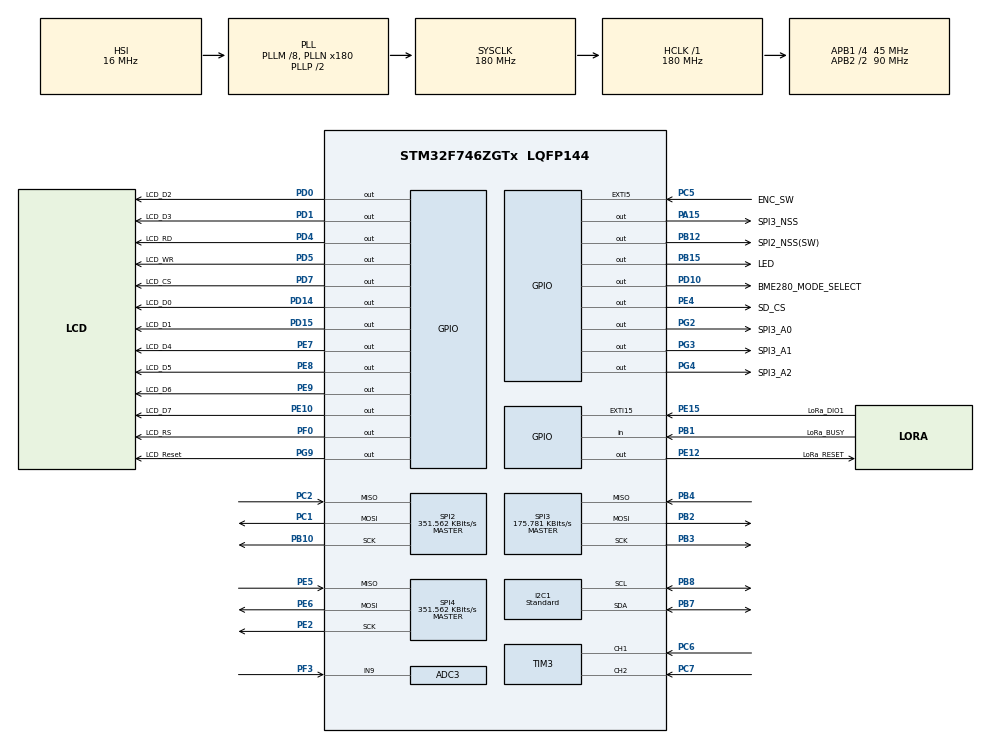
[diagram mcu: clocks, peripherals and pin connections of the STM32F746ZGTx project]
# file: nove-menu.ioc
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ADC3.Channel-0\#ChannelRegularConversion=ADC_CHANNEL_9
ADC3.ClockPrescaler=ADC_CLOCK_SYNC_PCLK_DIV4
ADC3.NbrOfConversionFlag=1
ADC3.Rank-0\#ChannelRegularConversion=1
ADC3.SamplingTime-0\#ChannelRegularConversion=ADC_SAMPLETIME_3CYCLES
CORTEX_M7.default_mode_Activation=1
I2C1.I2C_Speed_Mode=I2C_Standard
I2C1.Timing=0xC0000E12
Mcu.Family=STM32F7
Mcu.Name=STM32F746ZGTx
Mcu.Package=LQFP144
NVIC.EXTI15_10_IRQn=true\:0\:0\:false\:false\:true\:true\:true\:true
NVIC.EXTI9_5_IRQn=true\:0\:0\:false\:false\:true\:true\:true\:true
NVIC.PriorityGroup=NVIC_PRIORITYGROUP_4
NVIC.TIM1_TRG_COM_TIM11_IRQn=true\:0\:0\:false\:false\:true\:true\:true\:true
NVIC.TIM2_IRQn=true\:0\:0\:false\:false\:true\:true\:true\:true
PA15.GPIO_Label=SPI3_NSS
PA15.Signal=GPIO_Output
PB1.GPIO_Label=LoRa_BUSY
PB1.Signal=GPIO_Input
PB10.Mode=Full_Duplex_Master
PB10.Signal=SPI2_SCK
PB12.GPIO_Label=SPI2_NSS(SW)
PB12.Signal=GPIO_Output
PB15.GPIO_Label=LED
PB15.Signal=GPIO_Output
PB2.Mode=Full_Duplex_Master
PB2.Signal=SPI3_MOSI
PB3.Mode=Full_Duplex_Master
PB3.Signal=SPI3_SCK
PB4.Mode=Full_Duplex_Master
PB4.Signal=SPI3_MISO
PB7.Mode=I2C
PB7.Signal=I2C1_SDA
PB8.Mode=I2C
PB8.Signal=I2C1_SCL
PC1.Mode=Full_Duplex_Master
PC1.Signal=SPI2_MOSI
PC2.Mode=Full_Duplex_Master
PC2.Signal=SPI2_MISO
PC5.GPIO_Label=ENC_SW
PC5.GPIO_ModeDefaultEXTI=GPIO_MODE_IT_FALLING
PC5.GPIO_PuPd=GPIO_PULLUP
PC5.Signal=GPXTI5
PC6.Signal=S_TIM3_CH1
PC7.Signal=S_TIM3_CH2
PD0.GPIO_Label=LCD_D2
PD0.GPIO_ModeDefaultOutputPP=GPIO_MODE_OUTPUT_PP
PD0.GPIO_PuPd=GPIO_NOPULL
PD0.GPIO_Speed=GPIO_SPEED_FREQ_VERY_HIGH
PD0.PinState=GPIO_PIN_SET
PD0.Signal=GPIO_Output
PD1.GPIO_Label=LCD_D3
PD1.GPIO_ModeDefaultOutputPP=GPIO_MODE_OUTPUT_PP
PD1.GPIO_PuPd=GPIO_NOPULL
PD1.GPIO_Speed=GPIO_SPEED_FREQ_VERY_HIGH
PD1.PinState=GPIO_PIN_SET
PD1.Signal=GPIO_Output
PD10.GPIO_Label=BME280_MODE_SELECT
PD10.Signal=GPIO_Output
PD14.GPIO_Label=LCD_D0
PD14.GPIO_ModeDefaultOutputPP=GPIO_MODE_OUTPUT_PP
PD14.GPIO_PuPd=GPIO_NOPULL
PD14.GPIO_Speed=GPIO_SPEED_FREQ_VERY_HIGH
PD14.PinState=GPIO_PIN_SET
PD14.Signal=GPIO_Output
PD15.GPIO_Label=LCD_D1
PD15.GPIO_ModeDefaultOutputPP=GPIO_MODE_OUTPUT_PP
PD15.GPIO_PuPd=GPIO_NOPULL
PD15.GPIO_Speed=GPIO_SPEED_FREQ_VERY_HIGH
PD15.PinState=GPIO_PIN_SET
PD15.Signal=GPIO_Output
PD4.GPIO_Label=LCD_RD
PD4.GPIO_ModeDefaultOutputPP=GPIO_MODE_OUTPUT_PP
PD4.GPIO_PuPd=GPIO_NOPULL
PD4.GPIO_Speed=GPIO_SPEED_FREQ_VERY_HIGH
PD4.PinState=GPIO_PIN_SET
PD4.Signal=GPIO_Output
PD5.GPIO_Label=LCD_WR
PD5.GPIO_ModeDefaultOutputPP=GPIO_MODE_OUTPUT_PP
PD5.GPIO_PuPd=GPIO_NOPULL
PD5.GPIO_Speed=GPIO_SPEED_FREQ_VERY_HIGH
PD5.PinState=GPIO_PIN_SET
PD5.Signal=GPIO_Output
PD7.GPIO_Label=LCD_CS
PD7.GPIO_ModeDefaultOutputPP=GPIO_MODE_OUTPUT_PP
PD7.GPIO_PuPd=GPIO_NOPULL
PD7.GPIO_Speed=GPIO_SPEED_FREQ_VERY_HIGH
PD7.PinState=GPIO_PIN_SET
PD7.Signal=GPIO_Output
PE10.GPIO_Label=LCD_D7
PE10.GPIO_ModeDefaultOutputPP=GPIO_MODE_OUTPUT_PP
PE10.GPIO_PuPd=GPIO_NOPULL
PE10.GPIO_Speed=GPIO_SPEED_FREQ_VERY_HIGH
PE10.PinState=GPIO_PIN_SET
PE10.Signal=GPIO_Output
PE12.GPIO_Label=LoRa_RESET
PE12.Signal=GPIO_Output
PE15.GPIO_Label=LoRa_DIO1
PE15.GPIO_ModeDefaultEXTI=GPIO_MODE_IT_RISING
PE15.GPIO_PuPd=GPIO_NOPULL
PE15.Signal=GPXTI15
PE2.GPIO_PuPd=GPIO_PULLUP
PE2.Mode=Full_Duplex_Master
PE2.Signal=SPI4_SCK
PE4.GPIO_Label=SD_CS
PE4.GPIO_PuPd=GPIO_PULLUP
PE4.PinState=GPIO_PIN_SET
PE4.Signal=GPIO_Output
PE5.GPIO_PuPd=GPIO_PULLUP
PE5.Mode=Full_Duplex_Master
PE5.Signal=SPI4_MISO
PE6.GPIO_PuPd=GPIO_PULLUP
PE6.Mode=Full_Duplex_Master
PE6.Signal=SPI4_MOSI
PE7.GPIO_Label=LCD_D4
PE7.GPIO_ModeDefaultOutputPP=GPIO_MODE_OUTPUT_PP
PE7.GPIO_PuPd=GPIO_NOPULL
PE7.GPIO_Speed=GPIO_SPEED_FREQ_VERY_HIGH
PE7.PinState=GPIO_PIN_SET
PE7.Signal=GPIO_Output
PE8.GPIO_Label=LCD_D5
PE8.GPIO_ModeDefaultOutputPP=GPIO_MODE_OUTPUT_PP
PE8.GPIO_PuPd=GPIO_NOPULL
PE8.GPIO_Speed=GPIO_SPEED_FREQ_VERY_HIGH
PE8.PinState=GPIO_PIN_SET
PE8.Signal=GPIO_Output
PE9.GPIO_Label=LCD_D6
PE9.GPIO_ModeDefaultOutputPP=GPIO_MODE_OUTPUT_PP
PE9.GPIO_PuPd=GPIO_NOPULL
PE9.GPIO_Speed=GPIO_SPEED_FREQ_VERY_HIGH
PE9.PinState=GPIO_PIN_SET
PE9.Signal=GPIO_Output
PF0.GPIO_Label=LCD_RS
PF0.GPIO_ModeDefaultOutputPP=GPIO_MODE_OUTPUT_PP
PF0.GPIO_PuPd=GPIO_NOPULL
PF0.GPIO_Speed=GPIO_SPEED_FREQ_VERY_HIGH
PF0.PinState=GPIO_PIN_SET
PF0.Signal=GPIO_Output
PF3.Mode=IN9
PF3.Signal=ADC3_IN9
PG2.GPIO_Label=SPI3_A0
PG2.Signal=GPIO_Output
PG3.GPIO_Label=SPI3_A1
PG3.Signal=GPIO_Output
PG4.GPIO_Label=SPI3_A2
PG4.Signal=GPIO_Output
PG9.GPIO_Label=LCD_Reset
PG9.GPIO_ModeDefaultOutputPP=GPIO_MODE_OUTPUT_PP
PG9.GPIO_PuPd=GPIO_NOPULL
PG9.GPIO_Speed=GPIO_SPEED_FREQ_VERY_HIGH
PG9.PinState=GPIO_PIN_SET
PG9.Signal=GPIO_Output
ProjectManager.HeapSize=0x200
ProjectManager.StackSize=0x400
ProjectManager.TargetToolchain=STM32CubeIDE
RCC.AHBFreq_Value=180000000
RCC.APB1CLKDivider=RCC_HCLK_DIV4
RCC.APB1Freq_Value=45000000
RCC.APB1TimFreq_Value=90000000
RCC.APB2CLKDivider=RCC_HCLK_DIV2
RCC.APB2Freq_Value=90000000
RCC.APB2TimFreq_Value=180000000
RCC.CortexFreq_Value=180000000
RCC.HCLKFreq_Value=180000000
RCC.HSE_VALUE=25000000
RCC.HSI_VALUE=16000000
RCC.LSE_VALUE=32768
RCC.PLLM=8
RCC.PLLN=180
RCC.SYSCLKFreq_VALUE=180000000
RCC.SYSCLKSource=RCC_SYSCLKSOURCE_PLLCLK
RCC.USBFreq_Value=180000000
RCC.VCOOutputFreq_Value=360000000
SH.S_TIM3_CH1.0=TIM3_CH1,Encoder_Interface
SH.S_TIM3_CH2.0=TIM3_CH2,Encoder_Interface
SPI2.BaudRatePrescaler=SPI_BAUDRATEPRESCALER_128
SPI2.CalculateBaudRate=351.562 KBits/s
SPI2.DataSize=SPI_DATASIZE_8BIT
SPI2.Direction=SPI_DIRECTION_2LINES
SPI2.Mode=SPI_MODE_MASTER
SPI2.VirtualType=VM_MASTER
SPI3.BaudRatePrescaler=SPI_BAUDRATEPRESCALER_256
SPI3.CalculateBaudRate=175.781 KBits/s
SPI3.DataSize=SPI_DATASIZE_8BIT
SPI3.Direction=SPI_DIRECTION_2LINES
SPI3.Mode=SPI_MODE_MASTER
SPI3.VirtualType=VM_MASTER
SPI4.BaudRatePrescaler=SPI_BAUDRATEPRESCALER_256
SPI4.CalculateBaudRate=351.562 KBits/s
SPI4.DataSize=SPI_DATASIZE_8BIT
SPI4.Direction=SPI_DIRECTION_2LINES
SPI4.Mode=SPI_MODE_MASTER
SPI4.VirtualType=VM_MASTER
TIM11.ClockDivision=TIM_CLOCKDIVISION_DIV1
TIM11.Period=10000-1
TIM11.Prescaler=18000-1
TIM13.Period=999
TIM13.Prescaler=179
TIM2.ClockDivision=TIM_CLOCKDIVISION_DIV1
TIM2.Period=30000-1
TIM2.Prescaler=18000-1
TIM2.TIM_MasterOutputTrigger=TIM_TRGO_OC1
VP_FATFS_VS_Generic.Mode=User_defined
VP_TIM11_VS_ClockSourceINT.Mode=Enable_Timer
VP_TIM13_VS_ClockSourceINT.Mode=Enable_Timer
VP_TIM2_VS_ClockSourceINT.Mode=Internal
board=custom

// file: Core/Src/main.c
/* USER CODE BEGIN Header */
/**
  ******************************************************************************
  * @file           : main.c
  * @brief          : Main program body
  ******************************************************************************
  * @attention
  *
  * Copyright (c) 2026 STMicroelectronics.
  * All rights reserved.
  *
  * This software is licensed under terms that can be found in the LICENSE file
  * in the root directory of this software component.
  * If no LICENSE file comes with this software, it is provided AS-IS.
  *
  ******************************************************************************
  */
/* USER CODE END Header */
#include "main.h"
#include "adc.h"
#include "fatfs.h"
#include "i2c.h"
#include "spi.h"
#include "tim.h"
#include "gpio.h"

/* USER CODE BEGIN Includes */
#include "stm32_adafruit_lcd.h"
#include "ssd1306.h"
#include "stdio.h"
#include "string.h"
#include "stdarg.h" // For va_list var arg functions
#include "stdbool.h"

/* Komunikace */
#include "lora.h"

/* Senzory */
#include "bme280.h"

/* Stránky */
#include "hlavni_menu.h"
#include "atmosfera.h"
/* USER CODE END Includes */

/* USER CODE BEGIN PV */
bool pripojeno = 1;
uint16_t ping = 9999;

Cas predchozi_cas = {2026, 4, 15, 14, 39, 2}; // Čas při předchozí aktualizace hodin
Cas cas = {2026, 4, 15, 14, 39, 2};

uint16_t predchozi_pozice_vyberu = 0;
uint16_t pozice_vyberu = 0;
uint16_t max_pozice_vyberu = 10;

int32_t teplota;
uint32_t vlhkost, tlak;

int32_t teplota_venku;
uint32_t vlhkost_venku, tlak_venku;

bool stisknuto = 0; // Zda bylo stisknuto tlačítko na rotačním enkodéru

/* Proměnné pro FatFs */
FATFS FatFs; 	// FatFs handle
FIL fil; 		// File handle
FRESULT fres;   // Result after operations

uint8_t predchozi_stav_promenne_sd_karta_pripojena = 2;
// Předchozí stav proměnné je nastaven mimo rozsah, protože proměnná ještě nebyla inicializována.

bool vyzkouseno_pripojeni_sd_karty = 0;
bool sd_karta_pripojena = 0;
uint32_t kapacita_sd_karty = 0; // KB
uint32_t zaplneni_sd_karty = 0; // KB

uint8_t strana = 0;

const char nazvy_mesicu[12][10] = {
	{0x6C, 0x65, 0x64, 0x6E, 0x61, 0x00},							// "ledna"
	{0xFA, 0x6E, 0x6F, 0x72, 0x61, 0x00},							// "února"
	{0x62, 0xF8, 0x65, 0x7A, 0x6E, 0x61, 0x00},						// "března"
	{0x64, 0x75, 0x62, 0x6E, 0x61, 0x00},							// "dubna"
	{0x6B, 0x76, 0xEC, 0x74, 0x6E, 0x61, 0x00},						// "května"
	{0xE8, 0x65, 0x72, 0x76, 0x6E, 0x61, 0x00},						// "června"
	{0xE8, 0x65, 0x72, 0x76, 0x65, 0x6E, 0x63, 0x65, 0x00},			// "července"
	{0x73, 0x72, 0x70, 0x6E, 0x61, 0x00},							// "srpna"
	{0x7A, 0xE1, 0xF8, 0xED, 0x00},									// "září"
	{0xF8, 0xED, 0x6A, 0x6E, 0x61, 0x00},							// "října"
	{0x6C, 0x69, 0x73, 0x74, 0x6F, 0x70, 0x61, 0x64, 0x75, 0x00},	// "listopadu"
	{0x70, 0x72, 0x6F, 0x73, 0x69, 0x6E, 0x63, 0x65, 0x00}			// "prosince"
};
/*
 * 0 - hlavní menu
 */

char debug[500];

extern Disk_drvTypeDef  disk;

extern bool can_send_data; // Zda LoRa může posílat data

uint8_t lora_data[DATA_LEN]; // Data pro odeslání

bool mereni = false; // Zda se MCU má ptát senzorů na aktuální hodnoty
// Měří se každou sekundu
// Omezení je z důvodu přehřívání senzorů
/* USER CODE END PV */

void SystemClock_Config(void);
static void MPU_Config(void);
/* USER CODE BEGIN PFP */
void aktualizujCas(Cas *cas);
void aktualizujPoziciVyberu(void);
void tlacitkoStisknuto(void);
void pridatChecksum(uint8_t data[], size_t data_len);
void pripravitDataProOdeslani(void);
bool zkontrolovatChecksum(uint8_t data[], size_t data_len);
/* USER CODE END PFP */

/* USER CODE BEGIN 0 */
/* Allow SD card remounting */
DSTATUS disk_reinitialize (
	BYTE pdrv				/* Physical drive number to identify the drive */
)
{
	return disk.drv[pdrv]->disk_initialize(disk.lun[pdrv]);
}

void aktualizujCas(Cas *cas) {
	/* Tato funkce se spustí každou sekundu, vždy aktualizuje proměnnou cas */
	cas->sekundy ++;

	if (cas->sekundy >= 60) {
		cas->sekundy = 0;
		cas->minuty ++;

		if (cas->minuty >= 60) {
			cas->minuty = 0;
			cas->hodiny ++;

			if (cas->hodiny >= 24) {
				cas->hodiny = 0;
				cas->den ++;

				if (
					(cas->den >= 31 && (		// Měsíce se 31 dny
						cas->mesic == 1 ||		// Leden
						cas->mesic == 3 ||		// Březen
						cas->mesic == 5 || 		// Květen
						cas->mesic == 7 ||		// Červenec
						cas->mesic == 8 ||		// Srpen
						cas->mesic == 10 ||		// Říjen
						cas->mesic == 12		// Prosinec
					)) ||
					(cas->den > 30 && (			// Měsíce se 30 dny
						cas->mesic == 4 ||		// Duben
						cas->mesic == 6 ||		// Červen
						cas->mesic == 9 || 		// Září
						cas->mesic == 11		// Listopad
					)) ||
					(cas->den >= 29 && cas->rok % 4 == 0 && cas->rok % 100 != 0 && cas->rok % 400 == 0) ||	// Únor v přestupném roku
					cas->den >= 28																			// Únor v nepřestupném roku
				) {
					cas->den = 0;
					cas->mesic ++;

					if (cas->mesic >= 12) {
						cas->mesic = 1;
						cas->rok ++;
					}
				}
			}
		}
	}
}

void aktualizujPoziciVyberu(void) {
	if (TIM3->CNT % 2 == 0 && TIM3->CNT != pozice_vyberu * 2) {
		predchozi_pozice_vyberu = pozice_vyberu;

		if (TIM3->CNT > 65000) { // Underflow
			TIM3->CNT = (max_pozice_vyberu + 1) * 2 - ((65536 - TIM3->CNT) % ((max_pozice_vyberu + 1) * 2));
		}

		if (TIM3->CNT > max_pozice_vyberu * 2) {
			TIM3->CNT = TIM3->CNT % ((max_pozice_vyberu + 1) * 2);
		}

		pozice_vyberu = TIM3->CNT / 2;

		if (strana == 0) {
			aktualizujPoziciVyberuVHlavnimMenu(predchozi_pozice_vyberu, pozice_vyberu);
		}

		/* Vypíše na debug displej */
		char pozice_vyberu_buffer[6];
		snprintf(pozice_vyberu_buffer, 6, "%d", pozice_vyberu);

		ssd1306_SetCursor(122, 0);
		ssd1306_WriteString(pozice_vyberu_buffer, &Terminus12Bold, 1);
		ssd1306_UpdateScreen();
	}
}

void tlacitkoStisknuto(void) {
	ssd1306_SetCursor(122, 13);
	ssd1306_WriteString("1", &Terminus12Bold, 1);
	ssd1306_UpdateScreen(); // Vykreslí na OLED displej

	if (strana == 0) {
		if (pozice_vyberu == 0) {
			strana = 1;
			vykresliStrankuAtmosfera(&predchozi_pozice_vyberu, &pozice_vyberu, &max_pozice_vyberu);
		}
	}
	else if (strana == 1) {
		if (pozice_vyberu == 0) {
			strana = 0;
			predchozi_stav_promenne_sd_karta_pripojena = 2; // Mimo rozsah, protože spodní lišta potřebuje znovu vykreslit
			vykresliHlavniMenu(pripojeno, ping, cas, &predchozi_pozice_vyberu, &pozice_vyberu, &max_pozice_vyberu, vyzkouseno_pripojeni_sd_karty);
		}
	}

	ssd1306_SetCursor(122, 13);
	ssd1306_WriteString("0", &Terminus12Bold, 1);
	ssd1306_UpdateScreen(); // Vykreslí na OLED displej
}

uint8_t stavSD(void) {
	/* Získá stav SD karty - zda je připojena, jakou má kapacitu a kolik je na ní volného místa */

	f_mount(NULL, "", 1); // Nejprve odpojí

	// 4. NOW initialize disk
	if (disk_reinitialize(0) != RES_OK) {
		vyzkouseno_pripojeni_sd_karty = 1;
		sd_karta_pripojena = 0; // SD karta je odpojena
	}
	else {
		fres = f_mount(&FatFs, "", 1); // 1 = mount now

		if (fres != FR_OK) {
			// Otevře filesystém
			vyzkouseno_pripojeni_sd_karty = 1;
			sd_karta_pripojena = 0; // SD karta je odpojena
		}
		else {
			vyzkouseno_pripojeni_sd_karty = 1;
			sd_karta_pripojena = 1; // SD karta je připojena

			// Získá statistiky o zaplnění úložiště
			DWORD free_clusters, free_sectors, total_sectors;

			FATFS* getFreeFs;

			fres = f_getfree("", &free_clusters, &getFreeFs);
			if (fres != FR_OK) {
				return 1; // Nelze přečíst údaje o zaplnění úložiště
			}

			// Formula comes from ChaN's documentation
			total_sectors = (getFreeFs->n_fatent - 2) * getFreeFs->csize;
			free_sectors = free_clusters * getFreeFs->csize;

			kapacita_sd_karty = (total_sectors / 2);
			zaplneni_sd_karty = (total_sectors / 2 - free_sectors / 2);
		}
	}

	if (strana == 0 && sd_karta_pripojena != predchozi_stav_promenne_sd_karta_pripojena) { // Pokud je uživatel v hlavním menu
		predchozi_stav_promenne_sd_karta_pripojena = sd_karta_pripojena;
		aktualizujStavSDKartyVHlavnimMenu(sd_karta_pripojena, kapacita_sd_karty, zaplneni_sd_karty);
	}

	return 0; // Funkce úspěšně skončila
}

void pridatChecksum(uint8_t data[], size_t data_len) {
	uint8_t crc = 0;

	for (size_t i = 0; i < data_len - 1; i ++) {
		crc ^= data[i];
	}

	data[data_len - 1] = crc;
}

void pripravitDataProOdeslani() {
	memset(lora_data, 0, DATA_LEN); // Vynuluje data pro odeslání

	lora_data[8] = (teplota >> 24) & 0xFF; // MSB
	lora_data[9]  = (teplota >> 16) & 0xFF;
	lora_data[10] = (teplota >> 8)  & 0xFF;
	lora_data[11] = teplota & 0xFF;         // LSB

	lora_data[12] = (vlhkost >> 24) & 0xFF; // MSB
	lora_data[13]  = (vlhkost >> 16) & 0xFF;
	lora_data[14] = (vlhkost >> 8)  & 0xFF;
	lora_data[15] = vlhkost & 0xFF;         // LSB

	lora_data[16] = (tlak >> 24) & 0xFF; // MSB
	lora_data[17]  = (tlak >> 16) & 0xFF;
	lora_data[18] = (tlak >> 8)  & 0xFF;
	lora_data[19] = tlak & 0xFF;         // LSB

	pridatChecksum(lora_data, DATA_LEN);

	LoRa_set_data(lora_data, sizeof(lora_data));
}

bool zkontrolovatChecksum(uint8_t data[], size_t data_len) {
	uint8_t crc = 0;

	for (size_t i = 0; i < data_len - 1; i ++) {
		crc ^= data[i];
	}

	if (data[data_len - 1] == crc) {
		return true; // Checksum sedí
	}
	else {
		return false; // Checksum nesedí
	}
}

void LoRa_Rx_callback(uint8_t data_received[], uint8_t len) {
	if (!zkontrolovatChecksum(data_received, len)) {
		// Checksum nesedí
		// TODO: Error handling
	}

	teplota_venku =
		(int32_t)(
			((uint32_t)data_received[8] << 24) |
			((uint32_t)data_received[9] << 16) |
			((uint32_t)data_received[10] << 8)  |
			((uint32_t)data_received[11])
		);

	vlhkost_venku =
		((uint32_t)data_received[12] << 24) |
		((uint32_t)data_received[13] << 16) |
		((uint32_t)data_received[14] << 8)  |
		((uint32_t)data_received[15]);

	tlak_venku =
		((uint32_t)data_received[16] << 24) |
		((uint32_t)data_received[17] << 16) |
		((uint32_t)data_received[18] << 8)  |
		((uint32_t)data_received[19]);
}
/* USER CODE END 0 */

int main(void)
{

  /* MPU Configuration--------------------------------------------------------*/
  MPU_Config();

  /* MCU Configuration--------------------------------------------------------*/

  /* Reset of all peripherals, Initializes the Flash interface and the Systick. */
  HAL_Init();

  /* Configure the system clock */
  SystemClock_Config();

  /* Initialize all configured peripherals */
  MX_GPIO_Init();
  MX_ADC3_Init();
  MX_TIM3_Init();
  MX_I2C1_Init();
  MX_SPI4_Init();
  MX_FATFS_Init();
  MX_TIM13_Init();
  MX_TIM2_Init();
  MX_SPI3_Init();
  MX_SPI2_Init();
  MX_TIM11_Init();
  /* USER CODE BEGIN 2 */
  LoRa_init();

  HAL_ADC_Start(&hadc3);

  if (BSP_LCD_Init() != LCD_OK) {
  	Error_Handler(); // Inicializace LCD selhala
  	return 1;
  }

  HAL_TIM_Base_Start_IT(&htim11); // Inicializace timeru pro přerušení každou sekundu
  HAL_TIM_Encoder_Start(&htim3, TIM_CHANNEL_ALL); // Inicializace timeru k rotačnímu enkodéru
  TIM3->CNT = 0; // Počáteční vynulování

  ssd1306_Init(); // Inicializace OLED displeje

  /* Inicializace BME280 */
  if (BME280_Config(OSRS_16, OSRS_16, OSRS_16, MODE_NORMAL, T_SB_1000, IIR_16) != 0) {
	  Error_Handler();
  }

  /* Debug pozice výběru */
  char pozice_vyberu_text[] = {
	0x50, 0x6F, 0x7A, 0x69, 0x63, 0x65, 0x20, 0x76, 0xFD, 0x62, 0xEC, 0x72, 0x75, 0x3A, 0x00,  // "Pozice výběru:"
  };

  ssd1306_SetCursor(0, 0);
  ssd1306_WriteString(pozice_vyberu_text, &Terminus12Normal, 1);

  ssd1306_SetCursor(122, 0);
  ssd1306_WriteString("0", &Terminus12Bold, 1); // Počáteční pozice výběru je vždy 0

  /* Debug stisknuto */
  char stisknuto_text[] = {
    0x53, 0x74, 0x69, 0x73, 0x6B, 0x6E, 0x75, 0x74, 0x6F, 0x3A, 0x00,  // "Stisknuto:"
  };

  ssd1306_SetCursor(0, 13);
  ssd1306_WriteString(stisknuto_text, &Terminus12Normal, 1);

  ssd1306_SetCursor(122, 13);
  ssd1306_WriteString("0", &Terminus12Bold, 1);

  ssd1306_UpdateScreen(); // Vykreslí na OLED displej

  vykresliHlavniMenu(pripojeno, ping, cas, &predchozi_pozice_vyberu, &pozice_vyberu, &max_pozice_vyberu, vyzkouseno_pripojeni_sd_karty);

  stavSD();

  /* USER CODE END 2 */

  /* Infinite loop */
  /* USER CODE BEGIN WHILE */
  while (1)
  {
	  if (mereni) {
		  BME280_Measure(&teplota, &vlhkost, &tlak);
		  pripravitDataProOdeslani();
		  mereni = false;
	  }

	  LoRa_loop();

	  aktualizujPoziciVyberu();
	  if (stisknuto == 1) {
		  stisknuto = 0;
		  tlacitkoStisknuto();
	  }

	  stavSD();

	  if (strana == 0) { // Hlavní menu
		  aktualizujHodinyVHlavnimMenu(cas, &predchozi_cas);
	  }
	  if (strana == 1) { // Atmosféra
		  aktualizujHodnotyNaStranceAtmosfera(teplota, vlhkost, tlak, teplota_venku, vlhkost_venku, tlak_venku);
	  }
    /* USER CODE END WHILE */

  }
}

void SystemClock_Config(void)
{
  RCC_OscInitTypeDef RCC_OscInitStruct = {0};
  RCC_ClkInitTypeDef RCC_ClkInitStruct = {0};

  /** Configure the main internal regulator output voltage
  */
  __HAL_RCC_PWR_CLK_ENABLE();
  __HAL_PWR_VOLTAGESCALING_CONFIG(PWR_REGULATOR_VOLTAGE_SCALE1);

  /** Initializes the RCC Oscillators according to the specified parameters
  * in the RCC_OscInitTypeDef structure.
  */
  RCC_OscInitStruct.OscillatorType = RCC_OSCILLATORTYPE_HSI;
  RCC_OscInitStruct.HSIState = RCC_HSI_ON;
  RCC_OscInitStruct.HSICalibrationValue = RCC_HSICALIBRATION_DEFAULT;
  RCC_OscInitStruct.PLL.PLLState = RCC_PLL_ON;
  RCC_OscInitStruct.PLL.PLLSource = RCC_PLLSOURCE_HSI;
  RCC_OscInitStruct.PLL.PLLM = 8;
  RCC_OscInitStruct.PLL.PLLN = 180;
  RCC_OscInitStruct.PLL.PLLP = RCC_PLLP_DIV2;
  RCC_OscInitStruct.PLL.PLLQ = 2;
  if (HAL_RCC_OscConfig(&RCC_OscInitStruct) != HAL_OK)
  {
    Error_Handler();
  }

  /** Initializes the CPU, AHB and APB buses clocks
  */
  RCC_ClkInitStruct.ClockType = RCC_CLOCKTYPE_HCLK|RCC_CLOCKTYPE_SYSCLK
                              |RCC_CLOCKTYPE_PCLK1|RCC_CLOCKTYPE_PCLK2;
  RCC_ClkInitStruct.SYSCLKSource = RCC_SYSCLKSOURCE_PLLCLK;
  RCC_ClkInitStruct.AHBCLKDivider = RCC_SYSCLK_DIV1;
  RCC_ClkInitStruct.APB1CLKDivider = RCC_HCLK_DIV4;
  RCC_ClkInitStruct.APB2CLKDivider = RCC_HCLK_DIV2;

  if (HAL_RCC_ClockConfig(&RCC_ClkInitStruct, FLASH_LATENCY_5) != HAL_OK)
  {
    Error_Handler();
  }
}

/* USER CODE BEGIN 4 */
void HAL_GPIO_EXTI_Callback(uint16_t GPIO_Pin) {
	if (GPIO_Pin == ENC_SW_Pin) {
		stisknuto = 1;
	}
	if (GPIO_Pin == LoRa_DIO1_Pin) {
		LoRa_DIO1_interrupt_handler();
	}
}

void HAL_TIM_PeriodElapsedCallback(TIM_HandleTypeDef *htim)
{
	if (htim->Instance == TIM2) {
		LoRa_TIM2_interrupt_handler();
	}

    if (htim->Instance == TIM11) {
        // Kód, který se spustí každou sekundu:
    	mereni = true;
    	aktualizujCas(&cas);
    }
}
/* USER CODE END 4 */

 /* MPU Configuration */

void MPU_Config(void)
{
  MPU_Region_InitTypeDef MPU_InitStruct = {0};

  /* Disables the MPU */
  HAL_MPU_Disable();

  /** Initializes and configures the Region and the memory to be protected
  */
  MPU_InitStruct.Enable = MPU_REGION_ENABLE;
  MPU_InitStruct.Number = MPU_REGION_NUMBER0;
  MPU_InitStruct.BaseAddress = 0x0;
  MPU_InitStruct.Size = MPU_REGION_SIZE_4GB;
  MPU_InitStruct.SubRegionDisable = 0x87;
  MPU_InitStruct.TypeExtField = MPU_TEX_LEVEL0;
  MPU_InitStruct.AccessPermission = MPU_REGION_NO_ACCESS;
  MPU_InitStruct.DisableExec = MPU_INSTRUCTION_ACCESS_DISABLE;
  MPU_InitStruct.IsShareable = MPU_ACCESS_SHAREABLE;
  MPU_InitStruct.IsCacheable = MPU_ACCESS_NOT_CACHEABLE;
  MPU_InitStruct.IsBufferable = MPU_ACCESS_NOT_BUFFERABLE;

  HAL_MPU_ConfigRegion(&MPU_InitStruct);
  /* Enables the MPU */
  HAL_MPU_Enable(MPU_PRIVILEGED_DEFAULT);

}

void Error_Handler(void)
{
  __disable_irq();
  while (1)
  {
  }
}
